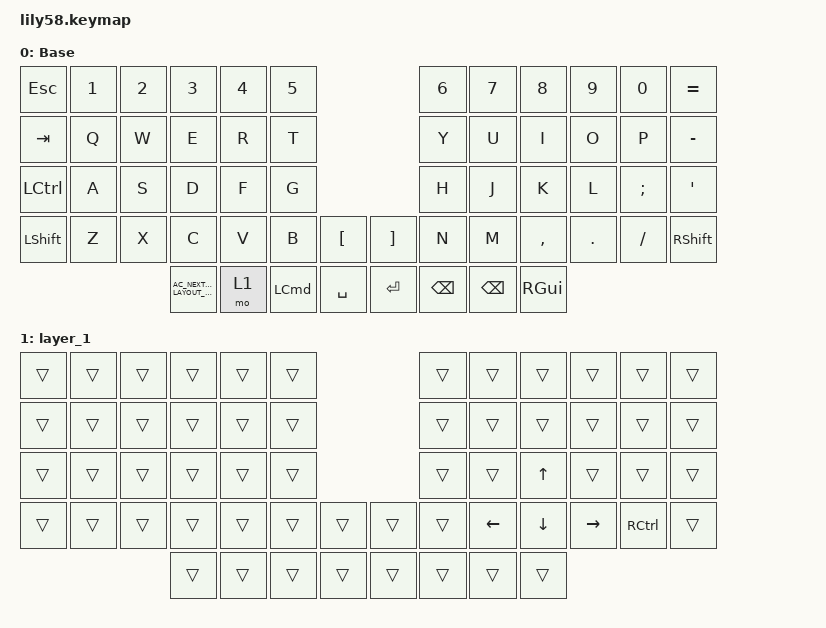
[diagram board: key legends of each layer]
/*
 * Copyright (c) 2020 The ZMK Contributors
 *
 * SPDX-License-Identifier: MIT
 */

#include <behaviors.dtsi>
#include <dt-bindings/zmk/keys.h>

/ {
    keymap {
        compatible = "zmk,keymap";

        default_layer {
            // ------------------------------------------------------------------------------------------------------------
            // |  ESC  |  1  |  2  |  3   |  4   |  5   |                   |  6   |  7    |  8    |  9   |   0   |   `   |
            // |  TAB  |  Q  |  W  |  E   |  R   |  T   |                   |  Y   |  U    |  I    |  O   |   P   |   -   |
            // |  CTRL |  A  |  S  |  D   |  F   |  G   |                   |  H   |  J    |  K    |  L   |   ;   |   '   |
            // | SHIFT |  Z  |  X  |  C   |  V   |  B   |   "["  |  |  "]"  |  N   |  M    |  ,    |  .   |   /   | SHIFT |
            //                     | ALT  | GUI  | LOWER|  SPACE |  | ENTER | RAISE| BSPC  | GUI   |

            display-name = "Base";
            bindings = <
&kp ESC    &kp N1  &kp N2  &kp N3                                &kp N4  &kp N5                                   &kp N6         &kp N7    &kp N8     &kp N9   &kp N0    &kp EQUAL
&kp TAB    &kp Q   &kp W   &kp E                                 &kp R   &kp T                                    &kp Y          &kp U     &kp I      &kp O    &kp P     &kp MINUS
&kp LCTRL  &kp A   &kp S   &kp D                                 &kp F   &kp G                                    &kp H          &kp J     &kp K      &kp L    &kp SEMI  &kp SQT
&kp LSHFT  &kp Z   &kp X   &kp C                                 &kp V   &kp B             &kp LBKT     &kp RBKT  &kp N          &kp M     &kp COMMA  &kp DOT  &kp FSLH  &kp RSHFT
                           &kp C_AC_NEXT_KEYBOARD_LAYOUT_SELECT  &mo 1   &kp LEFT_COMMAND  &kp SPACE    &kp RET   &kp BACKSPACE  &kp BSPC  &kp RGUI
            >;
        };

        layer_1 {
            bindings = <
&trans  &trans  &trans  &trans  &trans  &trans                    &trans  &trans          &trans          &trans           &trans             &trans
&trans  &trans  &trans  &trans  &trans  &trans                    &trans  &trans          &trans          &trans           &trans             &trans
&trans  &trans  &trans  &trans  &trans  &trans                    &trans  &trans          &kp UP_ARROW    &trans           &trans             &trans
&trans  &trans  &trans  &trans  &trans  &trans  &trans    &trans  &trans  &kp LEFT_ARROW  &kp DOWN_ARROW  &kp RIGHT_ARROW  &kp RIGHT_CONTROL  &trans
                        &trans  &trans  &trans  &trans    &trans  &trans  &trans          &trans
            >;
        };
    };
};
